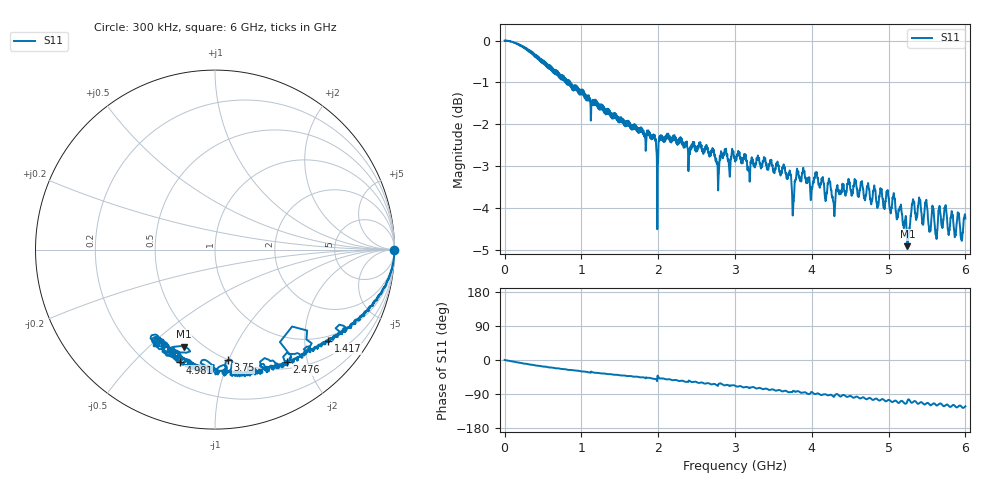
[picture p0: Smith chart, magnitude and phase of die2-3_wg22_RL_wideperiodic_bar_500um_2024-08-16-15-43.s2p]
!Keysight Technologies,P9374A,MY57304198,A.17.20.09
!Date: Friday, August 16, 2024 15:44:04
!Correction: S11(C  1-Port  )
!S21(C  1-Port  )
!S12(Off)
!S22(Off)
!S2P File: Measurements: S11, S21, S12, S22:
# Hz S  dB  R 50
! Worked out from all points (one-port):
!   6000 points, 300 kHz to 6 GHz, reference 50 ohm
!   lowest |S11| = -4.9 dB at 5.245 GHz (marker M1), VSWR 3.63, Z = 20.3 - j32.3 ohm
!   |S11| at or under -10 dB: nowhere
!   S11 on the Smith chart (normalised r, x): 300 kHz: open; 1.417 GHz: 0.87, -2.58; 2.476 GHz: 0.60, -1.67; 3.75 GHz: 0.49, -0.99; 4.981 GHz: 0.31, -0.69; 6 GHz: 0.31, -0.51
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300000  -0.00 -0.0  -200.00 45.0  -200.00 45.0  -200.00 45.0
4.153484e8  -0.35 -14.4  -200.00 45.0  -200.00 45.0  -200.00 45.0
1.000417e9  -1.17 -29.9  -200.00 45.0  -200.00 45.0  -200.00 45.0
1.417465e9  -1.82 -38.8  -200.00 45.0  -200.00 45.0  -200.00 45.0
1.948527e9  -2.31 -49.9  -200.00 45.0  -200.00 45.0  -200.00 45.0
2.000533e9  -2.62 -43.6  -200.00 45.0  -200.00 45.0  -200.00 45.0
2.029537e9  -2.34 -48.8  -200.00 45.0  -200.00 45.0  -200.00 45.0
2.475589e9  -2.59 -57.4  -200.00 45.0  -200.00 45.0  -200.00 45.0
2.759622e9  -2.92 -65.9  -200.00 45.0  -200.00 45.0  -200.00 45.0
2.816629e9  -2.69 -61.9  -200.00 45.0  -200.00 45.0  -200.00 45.0
3.00065e9  -2.87 -67.8  -200.00 45.0  -200.00 45.0  -200.00 45.0
3.628723e9  -3.02 -82.5  -200.00 45.0  -200.00 45.0  -200.00 45.0
3.749737e9  -4.15 -83.5  -200.00 45.0  -200.00 45.0  -200.00 45.0
3.954761e9  -3.32 -89.8  -200.00 45.0  -200.00 45.0  -200.00 45.0
4.000767e9  -3.50 -84.6  -200.00 45.0  -200.00 45.0  -200.00 45.0
4.980881e9  -3.62 -107.5  -200.00 45.0  -200.00 45.0  -200.00 45.0
5.000883e9  -3.77 -105.1  -200.00 45.0  -200.00 45.0  -200.00 45.0
5.210908e9  -4.33 -115.0  -200.00 45.0  -200.00 45.0  -200.00 45.0
5.244912e9  -4.92 -108.0  -200.00 45.0  -200.00 45.0  -200.00 45.0
5.326921e9  -3.86 -109.2  -200.00 45.0  -200.00 45.0  -200.00 45.0
5.538946e9  -4.51 -119.1  -200.00 45.0  -200.00 45.0  -200.00 45.0
6e9  -4.25 -122.2  -200.00 45.0  -200.00 45.0  -200.00 45.0
